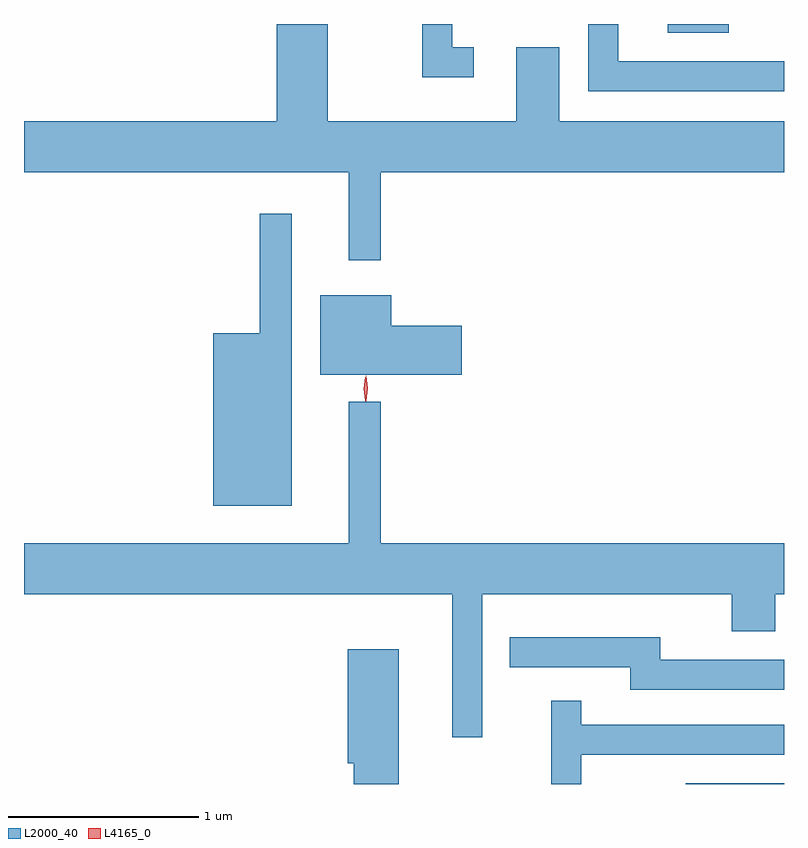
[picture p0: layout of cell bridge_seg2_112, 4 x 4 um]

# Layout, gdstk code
import gdstk
lib = gdstk.Library(unit=1e-6, precision=1e-09)
def R(c, l, rs):  # rectangles x0, y0, x1, y1
    for r in rs: c.add(gdstk.rectangle(r[:2], r[2:], *l))
def P(c, l, *ps):  # polygons
    for p in ps: c.add(gdstk.Polygon(p, *l))
L2000_40 = (2000, 40)
L4165_0 = (4165, 0)

bridge_seg2_112 = lib.new_cell('bridge_seg2_112')
R(bridge_seg2_112, L2000_40, [(924.113,1047.316,924.631,1047.319), (924.018,1051.271,924.339,1051.316)])
P(bridge_seg2_112, L2000_40, [(922.509,1050.536),(924.631,1050.536),(924.631,1050.804),(923.449,1050.804),(923.449,1051.194),(923.221,1051.194),(923.221,1050.804),(922.229,1050.804),(922.229,1051.316),(921.961,1051.316),(921.961,1050.804),(920.631,1050.804),(920.631,1050.536),(922.341,1050.536),(922.341,1050.073),(922.509,1050.073)],
  [(924.631,1051.119),(923.759,1051.119),(923.759,1051.316),(923.601,1051.316),(923.601,1050.961),(924.631,1050.961)],
  [(922.998,1051.194),(922.884,1051.194),(922.884,1051.316),(922.726,1051.316),(922.726,1051.036),(922.998,1051.036)],
  [(922.039,1050.318),(921.871,1050.318),(921.871,1049.689),(921.626,1049.689),(921.626,1048.781),(922.039,1048.781)],
  [(922.934,1049.729),(922.564,1049.729),(922.564,1049.889),(922.191,1049.889),(922.191,1049.471),(922.934,1049.471)],
  [(922.509,1049.328),(922.341,1049.328),(922.341,1048.584),(920.631,1048.584),(920.631,1048.316),(922.886,1048.316),(922.886,1047.563),(923.044,1047.563),(923.044,1048.316),(924.356,1048.316),(924.356,1048.121),(924.584,1048.121),(924.584,1048.316),(924.631,1048.316),(924.631,1048.584),(922.509,1048.584)],
  [(924.631,1047.969),(923.979,1047.969),(923.979,1048.089),(923.188,1048.089),(923.188,1047.931),(923.821,1047.931),(923.821,1047.811),(924.631,1047.811)],
  [(922.604,1048.024),(922.336,1048.024),(922.336,1047.426),(922.366,1047.426),(922.366,1047.316),(922.604,1047.316)],
  [(923.564,1047.471),(924.631,1047.471),(924.631,1047.629),(923.564,1047.629),(923.564,1047.753),(923.406,1047.753),(923.406,1047.316),(923.564,1047.316)])
P(bridge_seg2_112, L4165_0, [(922.43,1049.33),(922.43,1049.33),(922.421,1049.398),(922.432,1049.466),(922.432,1049.466),(922.433,1049.466),(922.441,1049.398),(922.431,1049.33)],
  [(922.427,1049.333),(922.418,1049.396),(922.427,1049.46),(922.428,1049.46),(922.428,1049.46),(922.438,1049.396),(922.428,1049.333),(922.428,1049.333)])

lib.write_gds('bridge_seg2_112.gds')
